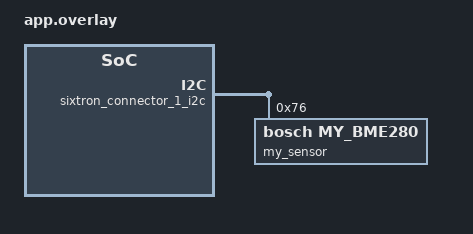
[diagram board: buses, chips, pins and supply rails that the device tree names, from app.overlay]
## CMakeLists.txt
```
cmake_minimum_required(VERSION 3.20.0)

get_filename_component(MY_SENSOR_MODULE_DIR
    "${CMAKE_CURRENT_SOURCE_DIR}/.."
    ABSOLUTE
)

list(APPEND EXTRA_ZEPHYR_MODULES "${MY_SENSOR_MODULE_DIR}")

find_package(Zephyr REQUIRED HINTS $ENV{ZEPHYR_BASE})

project(my_bme280)

target_sources(app PRIVATE src/main.c)
```

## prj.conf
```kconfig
CONFIG_SENSOR=y
CONFIG_I2C=y
CONFIG_SENSOR_ASYNC_API=y
```

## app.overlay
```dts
&sixtron_connector_1_i2c {
        status = "okay";

        my_sensor: bme280@76 {
                compatible = "bosch,my_bme280";
                reg = <0x76>;
                status = "okay";
        };
};
```

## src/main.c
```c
// TODO : Lire les valeurs toutes les 20s et les afficher
#include <zephyr/device.h>
#include <zephyr/drivers/sensor.h>
#include <zephyr/kernel.h>
#include <zephyr/sys/printk.h>

#define SENSOR_NODE DT_NODELABEL(my_sensor)

/*
 * Une seule lecture demande les trois canaux.
 */
SENSOR_DT_READ_IODEV(
    sensor_iodev,
    SENSOR_NODE,
    {SENSOR_CHAN_AMBIENT_TEMP, 0},
    {SENSOR_CHAN_PRESS, 0},
    {SENSOR_CHAN_HUMIDITY, 0}
);

RTIO_DEFINE(sensor_rtio, 1, 1);

int main(void)
{
    const struct device *dev =
        DEVICE_DT_GET(SENSOR_NODE);

    const struct sensor_decoder_api *decoder;

    uint8_t buffer[64];

    int ret;

    if (!device_is_ready(dev))
    {
        printk("BME280 non disponible\n");
        return 0;
    }

    ret =
        sensor_get_decoder(
            dev,
            &decoder);

    if (ret < 0)
    {
        printk(
            "Erreur get_decoder : %d\n",
            ret);

        return 0;
    }

    while (1)
    {
        /*
         * Une acquisition du BME280.
         */
        ret =
            sensor_read(
                &sensor_iodev,
                &sensor_rtio,
                buffer,
                sizeof(buffer));

        if (ret < 0)
        {
            printk(
                "Erreur read : %d\n",
                ret);

            k_msleep(20000);
            continue;
        }

        /*
         * Temperature
         */
        struct sensor_q31_data temperature;

        struct sensor_decode_context temp_ctx =
            SENSOR_DECODE_CONTEXT_INIT(
                decoder,
                buffer,
                SENSOR_CHAN_AMBIENT_TEMP,
                0);

        ret =
            sensor_decode(
                &temp_ctx,
                &temperature,
                1);

        if (ret != 1)
        {
            printk(
                "Erreur decode temperature : %d\n",
                ret);

            k_msleep(20000);
            continue;
        }

        /*
         * Pression
         */
        struct sensor_q31_data pressure;

        struct sensor_decode_context press_ctx =
            SENSOR_DECODE_CONTEXT_INIT(
                decoder,
                buffer,
                SENSOR_CHAN_PRESS,
                0);

        ret =
            sensor_decode(
                &press_ctx,
                &pressure,
                1);

        if (ret != 1)
        {
            printk(
                "Erreur decode pression : %d\n",
                ret);

            k_msleep(20000);
            continue;
        }

        /*
         * Humidite
         */
        struct sensor_q31_data humidity;

        struct sensor_decode_context hum_ctx =
            SENSOR_DECODE_CONTEXT_INIT(
                decoder,
                buffer,
                SENSOR_CHAN_HUMIDITY,
                0);

        ret =
            sensor_decode(
                &hum_ctx,
                &humidity,
                1);

        if (ret != 1)
        {
            printk(
                "Erreur decode humidite : %d\n",
                ret);

            k_msleep(20000);
            continue;
        }

        /*
         * Affichage.
         */
        printk(
            "Temperature : %"
            PRIsensor_q31_data
            " deg C\n",
            PRIsensor_q31_data_arg(
                temperature,
                0));

        printk(
            "Pression    : %"
            PRIsensor_q31_data
            " kPa\n",
            PRIsensor_q31_data_arg(
                pressure,
                0));

        printk(
            "Humidite    : %"
            PRIsensor_q31_data
            " %%\n",
            PRIsensor_q31_data_arg(
                humidity,
                0));

        printk("\n");

        /*
         * Consigne du prof :
         * lecture toutes les 20 secondes.
         */
        k_msleep(20000);
    }

    return 0;
}
```
